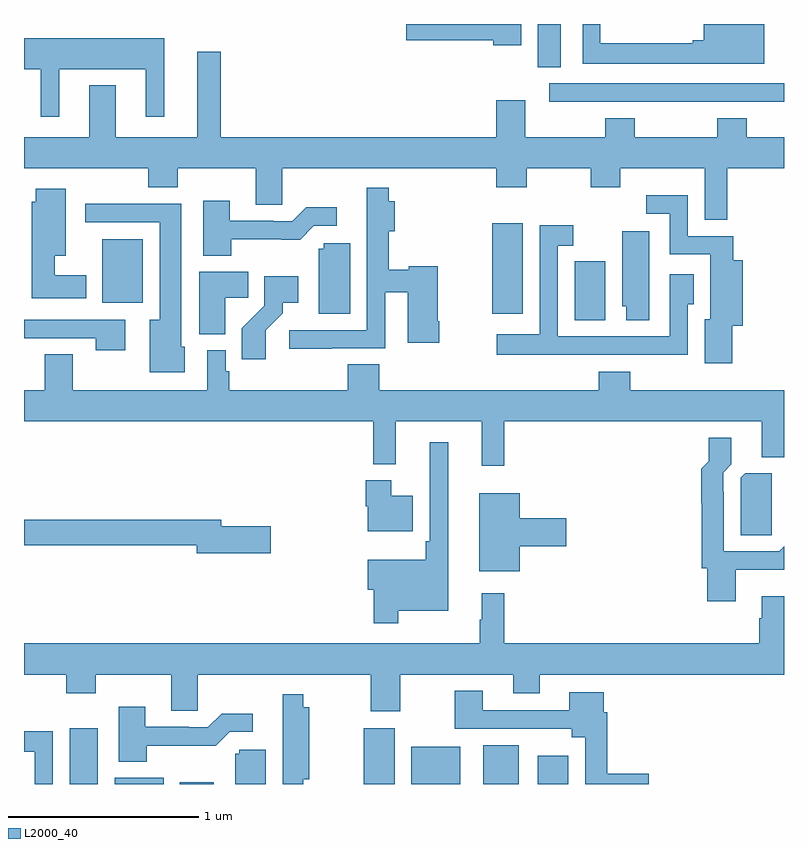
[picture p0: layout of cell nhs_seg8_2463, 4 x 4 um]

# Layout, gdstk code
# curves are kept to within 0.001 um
import gdstk
lib = gdstk.Library(unit=1e-6, precision=1e-09)
def R(c, l, rs):  # rectangles x0, y0, x1, y1
    for r in rs: c.add(gdstk.rectangle(r[:2], r[2:], *l))
def P(c, l, *ps):  # polygons
    for p in ps: c.add(gdstk.Polygon(p, *l))
L2000_40 = (2000, 40)

nhs_seg8_2463 = lib.new_cell('nhs_seg8_2463')
R(nhs_seg8_2463, L2000_40, [(265.241,1139.9,265.387,1140.193), (265.478,1139.9,265.736,1139.932), (265.821,1139.9,265.999,1139.908), (266.788,1139.9,266.95,1140.193), (267.038,1139.9,267.295,1140.097), (267.416,1139.9,267.604,1140.103), (267.704,1139.9,267.865,1140.049), (267.899,1142.341,268.06,1142.652), (267.464,1142.376,267.625,1142.851), (265.412,1142.432,265.624,1142.767), (267.704,1143.673,267.826,1143.9)])
P(nhs_seg8_2463, L2000_40, [(268.896,1143.898),(268.577,1143.898),(268.577,1143.814),(268.521,1143.814),(268.521,1143.799),(268.034,1143.799),(268.034,1143.9),(267.94,1143.9),(267.94,1143.692),(268.896,1143.692)],
  [(267.616,1143.9),(267.012,1143.9),(267.012,1143.815),(267.47,1143.815),(267.47,1143.788),(267.616,1143.788)],
  [(265.186,1143.662),(265.64,1143.662),(265.64,1143.411),(265.738,1143.411),(265.738,1143.826),(265,1143.826),(265,1143.662),(265.088,1143.662),(265.088,1143.411),(265.186,1143.411)],
  [(268.06,1143.304),(267.637,1143.304),(267.637,1143.499),(267.485,1143.499),(267.485,1143.304),(266.035,1143.304),(266.035,1143.754),(265.913,1143.754),(265.913,1143.304),(265.483,1143.304),(265.483,1143.577),(265.343,1143.577),(265.343,1143.304),(265,1143.304),(265,1143.14),(265.654,1143.14),(265.654,1143.041),(265.809,1143.041),(265.809,1143.14),(266.219,1143.14),(266.219,1142.95),(266.358,1142.95),(266.358,1143.14),(267.485,1143.14),(267.485,1143.041),(267.645,1143.041),(267.645,1143.14),(267.982,1143.14),(267.982,1143.041),(268.137,1143.041),(268.137,1143.14),(268.583,1143.14),(268.583,1142.869),(268.702,1142.869),(268.702,1143.14),(269,1143.14),(269,1143.304),(268.803,1143.304),(268.803,1143.403),(268.648,1143.403),(268.648,1143.304),(268.215,1143.304),(268.215,1143.403),(268.06,1143.403)],
  [(268.559,1143.492),(268.891,1143.492),(268.891,1143.491),(269,1143.491),(269,1143.588),(267.765,1143.588),(267.765,1143.492),(268.303,1143.492),(268.303,1143.491),(268.559,1143.491)],
  [(266.621,1142.193),(266.901,1142.193),(266.901,1142.488),(267.02,1142.488),(267.02,1142.223),(267.186,1142.223),(267.186,1142.335),(267.178,1142.335),(267.178,1142.624),(267.024,1142.624),(267.024,1142.606),(266.921,1142.606),(266.921,1142.81),(266.951,1142.81),(266.951,1142.968),(266.921,1142.968),(266.921,1143.037),(266.804,1143.037),(266.804,1142.814),(266.805,1142.814),(266.805,1142.289),(266.397,1142.289),(266.397,1142.191),(266.621,1142.191)],
  [(265.327,1142.578),(265.162,1142.578),(265.162,1142.681),(265.219,1142.681),(265.219,1143.034),(265.061,1143.034),(265.061,1142.964),(265.04,1142.964),(265.04,1142.456),(265.327,1142.456)],
  [(268.727,1142.312),(268.784,1142.312),(268.784,1142.656),(268.732,1142.656),(268.732,1142.784),(268.494,1142.784),(268.494,1142.998),(268.275,1142.998),(268.275,1142.901),(268.398,1142.901),(268.398,1142.688),(268.613,1142.688),(268.613,1142.347),(268.583,1142.347),(268.583,1142.115),(268.727,1142.115)],
  [(266.091,1142.766),(266.453,1142.765),(266.526,1142.838),(266.647,1142.838),(266.647,1142.935),(266.485,1142.935),(266.412,1142.862),(266.312,1142.862),(266.312,1142.865),(266.083,1142.865),(266.083,1142.971),(265.943,1142.971),(265.943,1142.681),(266.091,1142.681)],
  [(265.846,1142.202),(265.828,1142.202),(265.828,1142.954),(265.323,1142.954),(265.323,1142.856),(265.715,1142.856),(265.715,1142.344),(265.661,1142.344),(265.661,1142.066),(265.846,1142.066)],
  [(267.907,1142.16),(268.273,1142.16),(268.273,1142.159),(268.494,1142.159),(268.494,1142.425),(268.525,1142.425),(268.525,1142.584),(268.398,1142.584),(268.398,1142.256),(267.81,1142.256),(267.81,1142.733),(267.892,1142.733),(267.892,1142.842),(267.714,1142.842),(267.714,1142.266),(267.489,1142.266),(267.489,1142.159),(267.907,1142.159)],
  [(268.291,1142.809),(268.148,1142.809),(268.148,1142.415),(268.169,1142.415),(268.169,1142.341),(268.291,1142.341)],
  [(266.716,1142.745),(266.577,1142.745),(266.577,1142.718),(266.552,1142.718),(266.552,1142.374),(266.716,1142.374)],
  [(266.059,1142.458),(266.18,1142.458),(266.18,1142.596),(265.922,1142.596),(265.922,1142.267),(266.059,1142.267)],
  [(266.272,1142.287),(266.362,1142.377),(266.362,1142.432),(266.443,1142.432),(266.443,1142.572),(266.265,1142.572),(266.265,1142.417),(266.146,1142.298),(266.146,1142.136),(266.272,1142.136)],
  [(265.534,1142.343),(265,1142.343),(265,1142.247),(265.378,1142.247),(265.378,1142.184),(265.534,1142.184)],
  [(267.527,1141.808),(268.883,1141.808),(268.883,1141.621),(269,1141.621),(269,1141.972),(268.19,1141.972),(268.19,1142.071),(268.025,1142.071),(268.025,1141.972),(266.87,1141.972),(266.87,1142.108),(266.705,1142.108),(266.705,1141.972),(266.081,1141.972),(266.081,1142.073),(266.061,1142.073),(266.061,1142.182),(265.965,1142.182),(265.965,1141.972),(265.257,1141.972),(265.257,1142.162),(265.109,1142.162),(265.109,1141.972),(265,1141.972),(265,1141.808),(266.839,1141.808),(266.839,1141.583),(266.957,1141.583),(266.957,1141.808),(267.41,1141.808),(267.41,1141.575),(267.527,1141.575)],
  [(268.747,1141.028),(269,1141.028),(269,1141.151),(268.974,1141.125),(268.683,1141.125),(268.683,1141.439),(268.68,1141.439),(268.68,1141.539),(268.723,1141.582),(268.723,1141.723),(268.603,1141.723),(268.603,1141.599),(268.565,1141.56),(268.565,1141.378),(268.567,1141.378),(268.567,1141.035),(268.595,1141.035),(268.595,1140.861),(268.747,1140.861)],
  [(266.971,1140.812),(267.232,1140.812),(267.232,1141.699),(267.135,1141.699),(267.135,1141.177),(267.115,1141.177),(267.115,1141.081),(266.808,1141.081),(266.808,1140.923),(266.842,1140.923),(266.842,1140.747),(266.971,1140.747)],
  [(268.935,1141.321),(268.936,1141.321),(268.936,1141.536),(268.797,1141.536),(268.773,1141.512),(268.773,1141.21),(268.935,1141.21)],
  [(267.046,1141.417),(266.932,1141.417),(266.932,1141.498),(266.798,1141.498),(266.798,1141.362),(266.81,1141.362),(266.81,1141.229),(267.046,1141.229)],
  [(267.61,1141.151),(267.853,1141.151),(267.853,1141.298),(267.61,1141.298),(267.61,1141.429),(267.395,1141.429),(267.395,1141.019),(267.61,1141.019)],
  [(266.299,1141.256),(266.038,1141.256),(266.038,1141.292),(265,1141.292),(265,1141.156),(265.91,1141.156),(265.91,1141.114),(266.299,1141.114)],
  [(266.979,1140.476),(267.575,1140.476),(267.575,1140.377),(267.715,1140.377),(267.715,1140.476),(269,1140.476),(269,1140.889),(268.883,1140.889),(268.883,1140.773),(268.871,1140.773),(268.871,1140.64),(267.527,1140.64),(267.527,1140.904),(267.41,1140.904),(267.41,1140.764),(267.399,1140.764),(267.399,1140.64),(265,1140.64),(265,1140.476),(265.222,1140.476),(265.222,1140.377),(265.377,1140.377),(265.377,1140.476),(265.775,1140.476),(265.775,1140.286),(265.914,1140.286),(265.914,1140.476),(266.824,1140.476),(266.824,1140.282),(266.979,1140.282)],
  [(268.288,1139.953),(268.07,1139.953),(268.07,1140.278),(268.051,1140.278),(268.051,1140.382),(267.869,1140.382),(267.869,1140.288),(267.415,1140.288),(267.415,1140.391),(267.268,1140.391),(267.268,1140.192),(267.884,1140.192),(267.884,1140.146),(267.954,1140.146),(267.954,1139.9),(268.288,1139.9)],
  [(266.47,1139.924),(266.502,1139.924),(266.502,1140.304),(266.47,1140.304),(266.47,1140.373),(266.361,1140.373),(266.361,1139.9),(266.47,1139.9)],
  [(265.647,1140.102),(266.009,1140.101),(266.082,1140.174),(266.203,1140.174),(266.203,1140.271),(266.041,1140.271),(265.968,1140.198),(265.868,1140.198),(265.868,1140.201),(265.639,1140.201),(265.639,1140.307),(265.499,1140.307),(265.499,1140.017),(265.647,1140.017)],
  [(265.152,1140.178),(265,1140.178),(265,1140.069),(265.056,1140.069),(265.056,1139.9),(265.152,1139.9)],
  [(266.272,1140.081),(266.133,1140.081),(266.133,1140.06),(266.111,1140.06),(266.111,1139.9),(266.272,1139.9)])

lib.write_gds('nhs_seg8_2463.gds')
